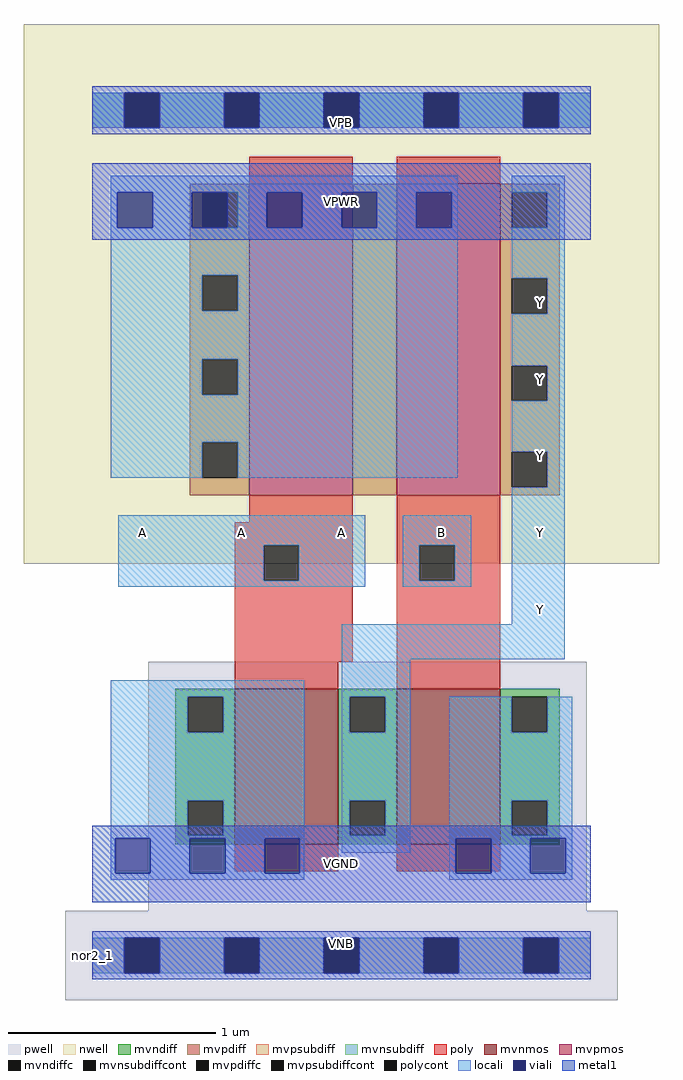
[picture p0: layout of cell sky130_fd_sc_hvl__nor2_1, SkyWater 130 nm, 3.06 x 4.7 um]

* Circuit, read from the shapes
.subckt sky130_fd_sc_hvl__nor2_1 A B VGND VNB VPB VPWR Y
XM1 Y A VGND VNB sky130_fd_pr__nfet_g5v0d10v5 w=0.75 l=0.5
XM2 VGND B Y VNB sky130_fd_pr__nfet_g5v0d10v5 w=0.75 l=0.5
XM3 n1 A VPWR VPB sky130_fd_pr__pfet_g5v0d10v5 w=1.5 l=0.5
XM4 Y B n1 VPB sky130_fd_pr__pfet_g5v0d10v5 w=1.5 l=0.5
.ends

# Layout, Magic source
magic
tech sky130A
magscale 1 2
<< nwell >>
rect -66 377 546 897
<< pwell >>
rect 54 43 476 283
rect -26 -43 506 43
<< mvnmos >>
rect 137 107 237 257
rect 293 107 393 257
<< mvpmos >>
rect 151 443 251 743
rect 293 443 393 743
<< mvndiff >>
rect 80 249 137 257
rect 80 215 92 249
rect 126 215 137 249
rect 80 149 137 215
rect 80 115 92 149
rect 126 115 137 149
rect 80 107 137 115
rect 237 249 293 257
rect 237 215 248 249
rect 282 215 293 249
rect 237 149 293 215
rect 237 115 248 149
rect 282 115 293 149
rect 237 107 293 115
rect 393 249 450 257
rect 393 215 404 249
rect 438 215 450 249
rect 393 149 450 215
rect 393 115 404 149
rect 438 115 450 149
rect 393 107 450 115
<< mvpdiff >>
rect 94 735 151 743
rect 94 701 106 735
rect 140 701 151 735
rect 94 655 151 701
rect 94 621 106 655
rect 140 621 151 655
rect 94 574 151 621
rect 94 540 106 574
rect 140 540 151 574
rect 94 494 151 540
rect 94 460 106 494
rect 140 460 151 494
rect 94 443 151 460
rect 251 443 293 743
rect 393 735 450 743
rect 393 701 404 735
rect 438 701 450 735
rect 393 652 450 701
rect 393 618 404 652
rect 438 618 450 652
rect 393 568 450 618
rect 393 534 404 568
rect 438 534 450 568
rect 393 485 450 534
rect 393 451 404 485
rect 438 451 450 485
rect 393 443 450 451
<< mvndiffc >>
rect 92 215 126 249
rect 92 115 126 149
rect 248 215 282 249
rect 248 115 282 149
rect 404 215 438 249
rect 404 115 438 149
<< mvpdiffc >>
rect 106 701 140 735
rect 106 621 140 655
rect 106 540 140 574
rect 106 460 140 494
rect 404 701 438 735
rect 404 618 438 652
rect 404 534 438 568
rect 404 451 438 485
<< mvpsubdiff >>
rect 0 -17 31 17
rect 65 -17 127 17
rect 161 -17 223 17
rect 257 -17 319 17
rect 353 -17 415 17
rect 449 -17 480 17
<< mvnsubdiff >>
rect 0 797 31 831
rect 65 797 127 831
rect 161 797 223 831
rect 257 797 319 831
rect 353 797 415 831
rect 449 797 480 831
<< mvpsubdiffcont >>
rect 31 -17 65 17
rect 127 -17 161 17
rect 223 -17 257 17
rect 319 -17 353 17
rect 415 -17 449 17
<< mvnsubdiffcont >>
rect 31 797 65 831
rect 127 797 161 831
rect 223 797 257 831
rect 319 797 353 831
rect 415 797 449 831
<< poly >>
rect 151 743 251 769
rect 293 743 393 769
rect 151 417 251 443
rect 137 395 251 417
rect 137 361 165 395
rect 199 361 251 395
rect 137 283 251 361
rect 293 395 393 443
rect 293 361 315 395
rect 349 361 393 395
rect 137 257 237 283
rect 293 257 393 361
rect 137 81 237 107
rect 293 81 393 107
<< polycont >>
rect 165 361 199 395
rect 315 361 349 395
<< locali >>
rect 0 797 31 831
rect 65 797 127 831
rect 161 797 223 831
rect 257 797 319 831
rect 353 797 415 831
rect 449 797 480 831
rect 18 735 352 751
rect 18 701 24 735
rect 58 701 96 735
rect 140 701 168 735
rect 202 701 240 735
rect 274 701 312 735
rect 346 701 352 735
rect 18 655 352 701
rect 18 621 106 655
rect 140 621 352 655
rect 18 574 352 621
rect 18 540 106 574
rect 140 540 352 574
rect 18 494 352 540
rect 18 460 106 494
rect 140 460 352 494
rect 404 735 455 751
rect 438 701 455 735
rect 404 652 455 701
rect 438 618 455 652
rect 404 568 455 618
rect 438 534 455 568
rect 404 485 455 534
rect 438 451 455 485
rect 25 395 263 424
rect 25 361 165 395
rect 199 361 263 395
rect 25 355 263 361
rect 299 395 365 424
rect 299 361 315 395
rect 349 361 365 395
rect 299 355 365 361
rect 404 319 455 451
rect 240 285 455 319
rect 18 249 204 265
rect 18 215 92 249
rect 126 215 204 249
rect 18 149 204 215
rect 18 115 92 149
rect 126 115 204 149
rect 18 113 204 115
rect 18 79 22 113
rect 56 79 94 113
rect 128 79 166 113
rect 200 79 204 113
rect 240 249 306 285
rect 240 215 248 249
rect 282 215 306 249
rect 240 149 306 215
rect 240 115 248 149
rect 282 115 306 149
rect 240 99 306 115
rect 344 215 404 249
rect 438 215 462 249
rect 344 149 462 215
rect 344 115 404 149
rect 438 115 462 149
rect 344 113 462 115
rect 18 73 204 79
rect 344 79 350 113
rect 384 79 422 113
rect 456 79 462 113
rect 344 73 462 79
rect 0 -17 31 17
rect 65 -17 127 17
rect 161 -17 223 17
rect 257 -17 319 17
rect 353 -17 415 17
rect 449 -17 480 17
<< viali >>
rect 31 797 65 831
rect 127 797 161 831
rect 223 797 257 831
rect 319 797 353 831
rect 415 797 449 831
rect 24 701 58 735
rect 96 701 106 735
rect 106 701 130 735
rect 168 701 202 735
rect 240 701 274 735
rect 312 701 346 735
rect 22 79 56 113
rect 94 79 128 113
rect 166 79 200 113
rect 350 79 384 113
rect 422 79 456 113
rect 31 -17 65 17
rect 127 -17 161 17
rect 223 -17 257 17
rect 319 -17 353 17
rect 415 -17 449 17
<< metal1 >>
rect 0 831 480 837
rect 0 797 31 831
rect 65 797 127 831
rect 161 797 223 831
rect 257 797 319 831
rect 353 797 415 831
rect 449 797 480 831
rect 0 791 480 797
rect 0 735 480 763
rect 0 701 24 735
rect 58 701 96 735
rect 130 701 168 735
rect 202 701 240 735
rect 274 701 312 735
rect 346 701 480 735
rect 0 689 480 701
rect 0 113 480 125
rect 0 79 22 113
rect 56 79 94 113
rect 128 79 166 113
rect 200 79 350 113
rect 384 79 422 113
rect 456 79 480 113
rect 0 51 480 79
rect 0 17 480 23
rect 0 -17 31 17
rect 65 -17 127 17
rect 161 -17 223 17
rect 257 -17 319 17
rect 353 -17 415 17
rect 449 -17 480 17
rect 0 -23 480 -17
<< labels >>
rlabel comment s 0 0 0 0 4 nor2_1
flabel metal1 s 0 51 480 125 0 FreeSans 340 0 0 0 VGND
port 3 nsew ground bidirectional
flabel metal1 s 0 0 480 23 0 FreeSans 340 0 0 0 VNB
port 4 nsew ground bidirectional
flabel metal1 s 0 689 480 763 0 FreeSans 340 0 0 0 VPWR
port 6 nsew power bidirectional
flabel metal1 s 0 791 480 814 0 FreeSans 340 0 0 0 VPB
port 5 nsew power bidirectional
flabel locali s 31 390 65 424 0 FreeSans 340 0 0 0 A
port 1 nsew signal input
flabel locali s 127 390 161 424 0 FreeSans 340 0 0 0 A
port 1 nsew signal input
flabel locali s 223 390 257 424 0 FreeSans 340 0 0 0 A
port 1 nsew signal input
flabel locali s 319 390 353 424 0 FreeSans 340 0 0 0 B
port 2 nsew signal input
flabel locali s 415 316 449 350 0 FreeSans 340 0 0 0 Y
port 7 nsew signal output
flabel locali s 415 390 449 424 0 FreeSans 340 0 0 0 Y
port 7 nsew signal output
flabel locali s 415 464 449 498 0 FreeSans 340 0 0 0 Y
port 7 nsew signal output
flabel locali s 415 538 449 572 0 FreeSans 340 0 0 0 Y
port 7 nsew signal output
flabel locali s 415 612 449 646 0 FreeSans 340 0 0 0 Y
port 7 nsew signal output
<< properties >>
string FIXED_BBOX 0 0 480 814
string GDS_END 195320
string GDS_FILE $PDKPATH/libs.ref/sky130_fd_sc_hvl/gds/sky130_fd_sc_hvl.gds
string GDS_START 187998
string LEFclass CORE
string LEFsite unithv
string LEFsymmetry X Y
<< end >>
